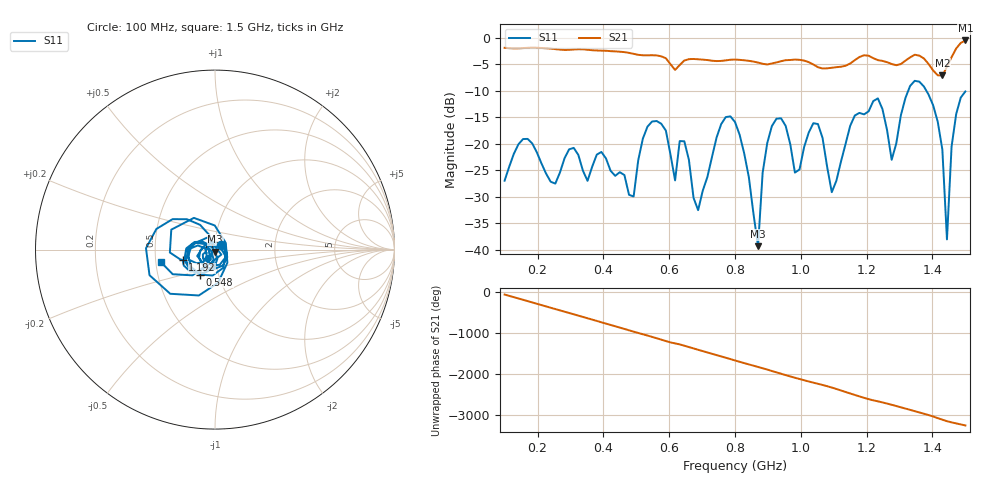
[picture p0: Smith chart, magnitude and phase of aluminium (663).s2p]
! NanoVNA-App
! Date: 2025-09-25 15:00:26
! Start: 100MHz Stop: 1,5GHz Points: 101
! S-Parameter data: F S11 S21 S12 S22
# Hz S RI R 50
!  Frequency  S11_Real  S11_Imag  S21_Real  S21_Imag  S12_Real  S12_Imag  S22_Real  S22_Imag
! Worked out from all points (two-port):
!   101 points, 100 MHz to 1.5 GHz, reference 50 ohm
!   highest |S21| = -0.54 dB at 1.5 GHz (marker M1); lowest = -7.1 dB at 1.43 GHz (marker M2)
!   |S21| within 3 dB of the highest: start of sweep to 576.4 MHz; 1.459 GHz to end of sweep (the widest 2 of 4)
!   lowest |S11| = -39.3 dB at 870 MHz (marker M3), VSWR 1.02, Z = 50.1 - j1.08 ohm
!   |S11| at or under -10 dB: start of sweep to 1.326 GHz; 1.381 GHz to end of sweep
!   S12 and S22 are empty: the file has one direction only
!   S11 on the Smith chart (normalised r, x): 100 MHz: 1.07, +0.06; 548 MHz: 0.82, -0.23; 1.192 GHz: 0.69, -0.08; 1.5 GHz: 0.53, -0.08
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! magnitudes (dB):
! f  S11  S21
! 100 MHz  -27.0  -1.9
! 156 MHz  -19.1  -2.0
! 338 MHz  -25.1  -2.2
! 492 MHz  -29.9  -3.1
! 548 MHz  -15.8  -3.3
! 576 MHz  -16.2  -3.5
! 646 MHz  -19.5  -4.3
! 688 MHz  -32.5  -4.1
! 800 MHz  -15.9  -4.1
! 870 MHz  -39.3  -4.7
! 912 MHz  -16.7  -4.9
! 982 MHz  -25.4  -4.1
! 1.038 GHz  -16.1  -5.1
! 1.094 GHz  -29.1  -5.7
! 1.192 GHz  -14.5  -3.3
! 1.234 GHz  -11.4  -4.2
! 1.276 GHz  -23.0  -5.0
! 1.346 GHz  -8.1  -3.2
! 1.43 GHz  -21.1  -7.1
! 1.444 GHz  -38.0  -5.5
! 1.458 GHz  -20.6  -3.7
! 1.5 GHz  -10.1  -0.5
